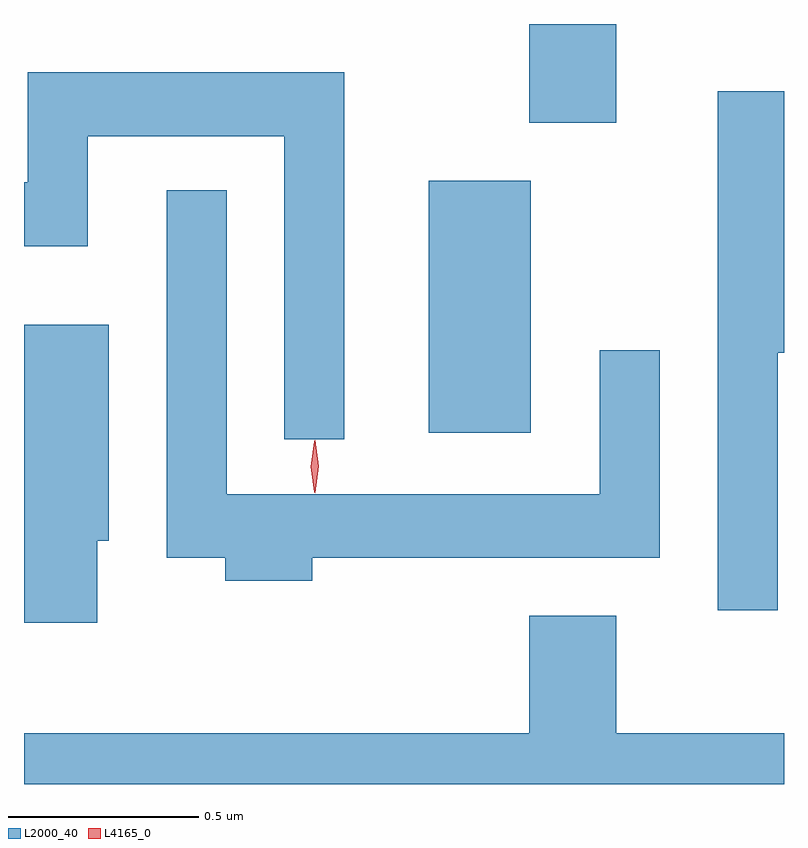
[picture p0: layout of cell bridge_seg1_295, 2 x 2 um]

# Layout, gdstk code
import gdstk
lib = gdstk.Library(unit=1e-6, precision=1e-09)
def R(c, l, rs):  # rectangles x0, y0, x1, y1
    for r in rs: c.add(gdstk.rectangle(r[:2], r[2:], *l))
def P(c, l, *ps):  # polygons
    for p in ps: c.add(gdstk.Polygon(p, *l))
L2000_40 = (2000, 40)
L4165_0 = (4165, 0)

bridge_seg1_295 = lib.new_cell('bridge_seg1_295')
R(bridge_seg1_295, L2000_40, [(869.786,900.636,870.054,901.299), (870.051,901.451,870.279,901.711)])
P(bridge_seg1_295, L2000_40, [(869.564,901.584),(868.731,901.584),(868.731,901.294),(868.721,901.294),(868.721,901.126),(868.889,901.126),(868.889,901.416),(869.406,901.416),(869.406,900.618),(869.564,900.618)],
  [(870.704,900.846),(870.721,900.846),(870.721,901.534),(870.546,901.534),(870.546,900.168),(870.704,900.168)],
  [(869.479,900.306),(870.394,900.306),(870.394,900.853),(870.236,900.853),(870.236,900.474),(869.254,900.474),(869.254,901.273),(869.096,901.273),(869.096,900.306),(869.251,900.306),(869.251,900.246),(869.479,900.246)],
  [(868.914,900.351),(868.944,900.351),(868.944,900.919),(868.721,900.919),(868.721,900.136),(868.914,900.136)],
  [(870.721,899.844),(870.279,899.844),(870.279,900.154),(870.051,900.154),(870.051,899.844),(868.721,899.844),(868.721,899.711),(870.721,899.711)])
P(bridge_seg1_295, L4165_0, [(869.486,900.477),(869.477,900.547),(869.486,900.616),(869.487,900.616),(869.488,900.616),(869.497,900.547),(869.488,900.477),(869.487,900.477)],
  [(869.485,900.479),(869.485,900.48),(869.475,900.546),(869.485,900.612),(869.485,900.613),(869.486,900.612),(869.495,900.546),(869.486,900.48)])

lib.write_gds('bridge_seg1_295.gds')
